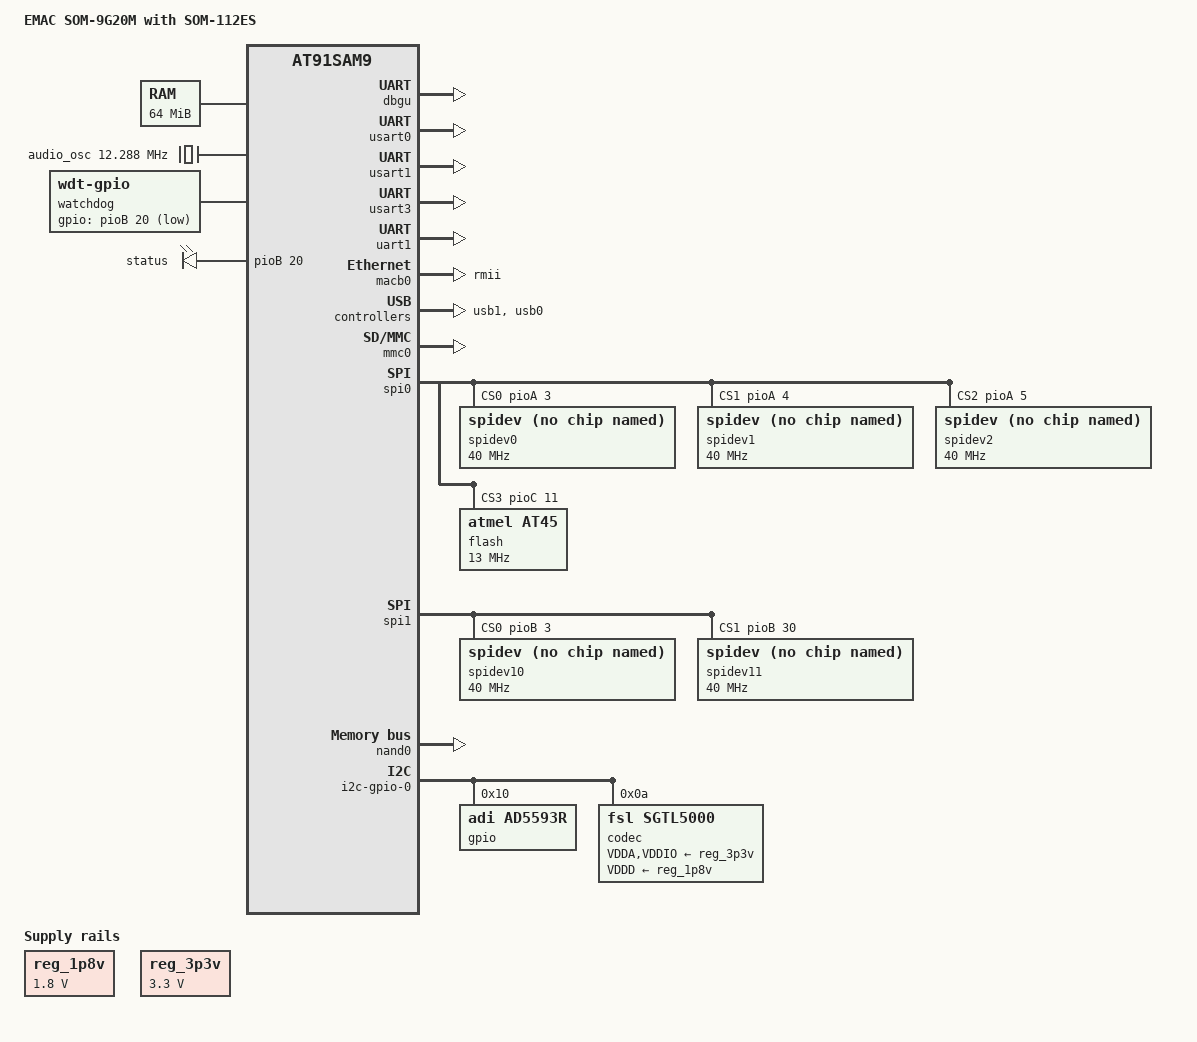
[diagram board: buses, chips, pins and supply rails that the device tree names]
/*
 * som-9g20-112es.dts - Device Tree file for SOM-9G20M w/ SOM-112ES carrier.
 *
 * Copyright (C) 2018 EMAC Inc.
 *
 * Licensed under GPLv2.
 */
/dts-v1/;
#include "at91sam9g20.dtsi"
#include <dt-bindings/iio/adi,ad5592r.h>

/ {
	model = "EMAC SOM-9G20M with SOM-112ES";
	compatible = "emac,som9g20", "atmel,at91sam9g20", "atmel,at91sam9";

	aliases {
		serial4 = &usart1;
		serial3 = &usart3;
		serial6 = &uart0;
		spi0 = &spi0;
		spi1 = &spi1;
	};

	memory {
		reg = <0x20000000 0x4000000>;
	};

	clocks {
		slow_xtal {
			clock-frequency = <32768>;
		};

		main_xtal {
			clock-frequency = <18432000>;
		};

		audio_osc: audio_osc {
			compatible = "fixed-clock";
			#clock-cells = <0>;
			clock-frequency = <12288000>;
		};
	};

	regulators {
		compatible = "simple-bus";
		#address-cells = <1>;
		#size-cells = <0>;

		reg_1p8v: regulator-1p8v {
			compatible = "regulator-fixed";
			regulator-name = "1P8V";
			regulator-min-microvolt = <1800000>;
			regulator-max-microvolt = <1800000>;
			regulator-boot-on;
			regulator-always-on;
		};

		reg_3p3v: regulator-3p3v {
			compatible = "regulator-fixed";
			regulator-name = "3P3V";
			regulator-min-microvolt = <3300000>;
			regulator-max-microvolt = <3300000>;
			regulator-always-on;
		};
	};

	sound {
		compatible = "simple-audio-card";
		simple-audio-card,name = "sgtl5000 @ SOM9G20";
		simple-audio-card,format = "i2s";
		simple-audio-card,bitclock-master = <&codec_master>;
		simple-audio-card,frame-master = <&codec_master>;
		simple-audio-card,widgets =
			"Line", "Line In",
			"Line", "Line Out";
		simple-audio-card,routing =
			"Line In", "Capture",
			"Line Out", "Playback";

		cpu_master: simple-audio-card,cpu {
			sound-dai = <&ssc0>;
		};

		codec_master: simple-audio-card,codec {
			sound-dai = <&codec>;
			clocks = <&audio_osc>;
		};
	};

	ahb {
		apb {
			pinctrl@fffff400 {

				spi0 {
					pinctrl_spi0_cs: spi0-board {
						atmel,pins =
							<AT91_PIOA 3 AT91_PERIPH_GPIO AT91_PINCTRL_PULL_UP
							 AT91_PIOA 4 AT91_PERIPH_GPIO AT91_PINCTRL_PULL_UP
							 AT91_PIOA 5 AT91_PERIPH_GPIO AT91_PINCTRL_PULL_UP
							 AT91_PIOC 11 AT91_PERIPH_GPIO AT91_PINCTRL_PULL_UP>;
					};
				};

				spi1 {
					pinctrl_spi1_cs: spi1-board {
						atmel,pins =
							<AT91_PIOB 3 AT91_PERIPH_GPIO AT91_PINCTRL_PULL_UP
							 AT91_PIOB 30 AT91_PERIPH_GPIO AT91_PINCTRL_PULL_UP>;
					};
				};

				som {
					pinctrl_som: som-board {
						atmel,pins =
							<AT91_PIOB 0 AT91_PERIPH_GPIO AT91_PINCTRL_NONE
							 AT91_PIOB 1 AT91_PERIPH_GPIO AT91_PINCTRL_NONE
							 AT91_PIOB 2 AT91_PERIPH_GPIO AT91_PINCTRL_NONE
							 AT91_PIOC 12 AT91_PERIPH_GPIO AT91_PINCTRL_NONE
							 AT91_PIOA 28 AT91_PERIPH_GPIO AT91_PINCTRL_NONE
							 AT91_PIOA 22 AT91_PERIPH_GPIO AT91_PINCTRL_NONE
							 AT91_PIOA 31 AT91_PERIPH_GPIO AT91_PINCTRL_NONE>;
					};
				};
			};

			dbgu: serial@fffff200 {
				status = "okay";
			};

			usart0: serial@fffb0000 {
				pinctrl-0 =
					<&pinctrl_usart0
					 &pinctrl_usart0_rts
					 &pinctrl_usart0_cts
					 &pinctrl_usart0_dtr_dsr
					 &pinctrl_usart0_dcd
					 &pinctrl_usart0_ri>;
				status = "okay";
			};

			usart1: serial@fffb4000 {
				pinctrl-0 =
					<&pinctrl_usart1
					 &pinctrl_usart1_rts
					 &pinctrl_usart1_cts>;
				status = "okay";
			};

			usart3: serial@fffd0000 {
				status = "okay";
			};

			uart1: serial@fffd8000 {
				status = "okay";
			};

			macb0: ethernet@fffc4000 {
				phy-mode = "rmii";
				status = "okay";
			};

			usb1: gadget@fffa4000 {
				atmel,vbus-gpio = <&pioB 31 GPIO_ACTIVE_HIGH>;
				status = "okay";
			};
			
			ssc0: ssc@fffbc000 {
				#sound-dai-cells = <0>;
				status = "okay";
			};

			mmc0: mmc@fffa8000 {
				pinctrl-names = "default";
				pinctrl-0 = <
					&pinctrl_mmc0_clk
					&pinctrl_mmc0_slot0_cmd_dat0
					&pinctrl_mmc0_slot0_dat1_3>;
				status = "okay";
				slot@0 {
					reg = <0>;
					bus-width = <4>;
				};
			};

			spi0: spi@fffc8000 {
				cs-gpios = <&pioA 3 0
					    &pioA 4 0
					    &pioA 5 0
					    &pioC 11 0>;
				pinctrl-name = "default";
				pinctrl-0 = <&pinctrl_spi0 &pinctrl_spi0_cs>;
				status = "okay";

				spidev0: spidev@0 {
					compatible = "emac,spidev";
					reg = <0>;
					spi-max-frequency = <40000000>;
				};

				spidev1: spidev@1 {
					compatible = "emac,spidev";
					reg = <1>;
					spi-max-frequency = <40000000>;
				};

				spidev2: spidev@2 {
					compatible = "emac,spidev";
					reg = <2>;
					spi-max-frequency = <40000000>;
				};

				flash: mtd_dataflash@3 {
					compatible = "atmel,at45", "atmel,dataflash";
					spi-max-frequency = <13000000>;
					reg = <3>;
				};
			};

			spi1: spi@fffcc000 {
				cs-gpios = <&pioB 3 0
					    &pioB 30 0>;
				pinctrl-name = "default";
				pinctrl-0 = <&pinctrl_spi1 &pinctrl_spi1_cs>;
				status = "okay";

				spidev10: spidev@10 {
					compatible = "emac,spidev";
					reg = <0>;
					spi-max-frequency = <40000000>;
				};

				spidev11: spidev@11 {
					compatible = "emac,spidev";
					reg = <1>;
					spi-max-frequency = <40000000>;
				};
			};

			shdwc@fffffd10 {
				atmel,wakeup-counter = <10>;
				atmel,wakeup-rtt-timer;
			};

			rtc@fffffd20 {
				atmel,rtt-rtc-time-reg = <&gpbr 0x0>;
				status = "okay";
			};

			watchdog: watchdog {
				/* MAX6747 */
				compatible = "linux,wdt-gpio";
				gpios = <&pioB 20 GPIO_ACTIVE_LOW>;
				hw_algo = "toggle";
				hw_margin_ms = <1000>;
			};
		};

		nand0: nand@40000000 {
			nand-bus-width = <8>;
			nand-ecc-mode = "soft";
			nand-on-flash-bbt;
			status = "okay";
		};

		usb0: ohci@500000 {
			num-ports = <2>;
			status = "okay";
		};
	};

	i2c-gpio-0 {
		status = "okay";

		gpio: ad5593r@10 {
			#size-cells = <0>;
			#address-cells = <1>;
			#gpio-cells = <2>;
			compatible = "adi,ad5593r";
			reg = <0x10>;
			gpio-controller;

			channel@0 {
				reg = <0>;
				adi,mode = <CH_MODE_GPIO>;
				adi,off-state = <CH_OFFSTATE_PULLDOWN>;
			};

			channel@1 {
				reg = <1>;
				adi,mode = <CH_MODE_GPIO>;
				adi,off-state = <CH_OFFSTATE_PULLDOWN>;
			};

			channel@2 {
				reg = <2>;
				adi,mode = <CH_MODE_GPIO>;
				adi,off-state = <CH_OFFSTATE_PULLDOWN>;
			};

			channel@3 {
				reg = <3>;
				adi,mode = <CH_MODE_GPIO>;
				adi,off-state = <CH_OFFSTATE_PULLDOWN>;
			};

			channel@4 {
				reg = <4>;
				adi,mode = <CH_MODE_DAC_AND_ADC>;
				adi,off-state = <CH_OFFSTATE_PULLDOWN>;
			};
	
			channel@5 {
				reg = <5>;
				adi,mode = <CH_MODE_DAC_AND_ADC>;
				adi,off-state = <CH_OFFSTATE_PULLDOWN>;
			};

			channel@6 {
				reg = <6>;
				adi,mode = <CH_MODE_DAC_AND_ADC>;
				adi,off-state = <CH_OFFSTATE_PULLDOWN>;
			};

			channel@7 {
				reg = <7>;
				adi,mode = <CH_MODE_DAC_AND_ADC>;
				adi,off-state = <CH_OFFSTATE_PULLDOWN>;
			};
		};

		codec: sgtl5000@0a {
			#sound-dai-cells = <0>;
			reg = <0x0a>;
			compatible = "fsl,sgtl5000";
			clocks = <&audio_osc>;
			VDDA-supply = <&reg_3p3v>;
			VDDIO-supply = <&reg_3p3v>;
			VDDD-supply = <&reg_1p8v>;
		};
	};

	tcb_pwm: tcb_pwm {
		compatible = "atmel,tcb-pwm";
		pinctrl-names = "default";
		pinctrl-0 = <&pinctrl_tcb0_tiob1 &pinctrl_tcb0_tiob2>;
		#pwm-cells = <3>;
		tc-block = <0>;
	};

	gpio-leds {
		compatible = "gpio-leds";
		led-stat {
			label = "status";
			gpios = <&pioB 20 GPIO_ACTIVE_HIGH>;
			default-state = "on";
		};
	};
};
